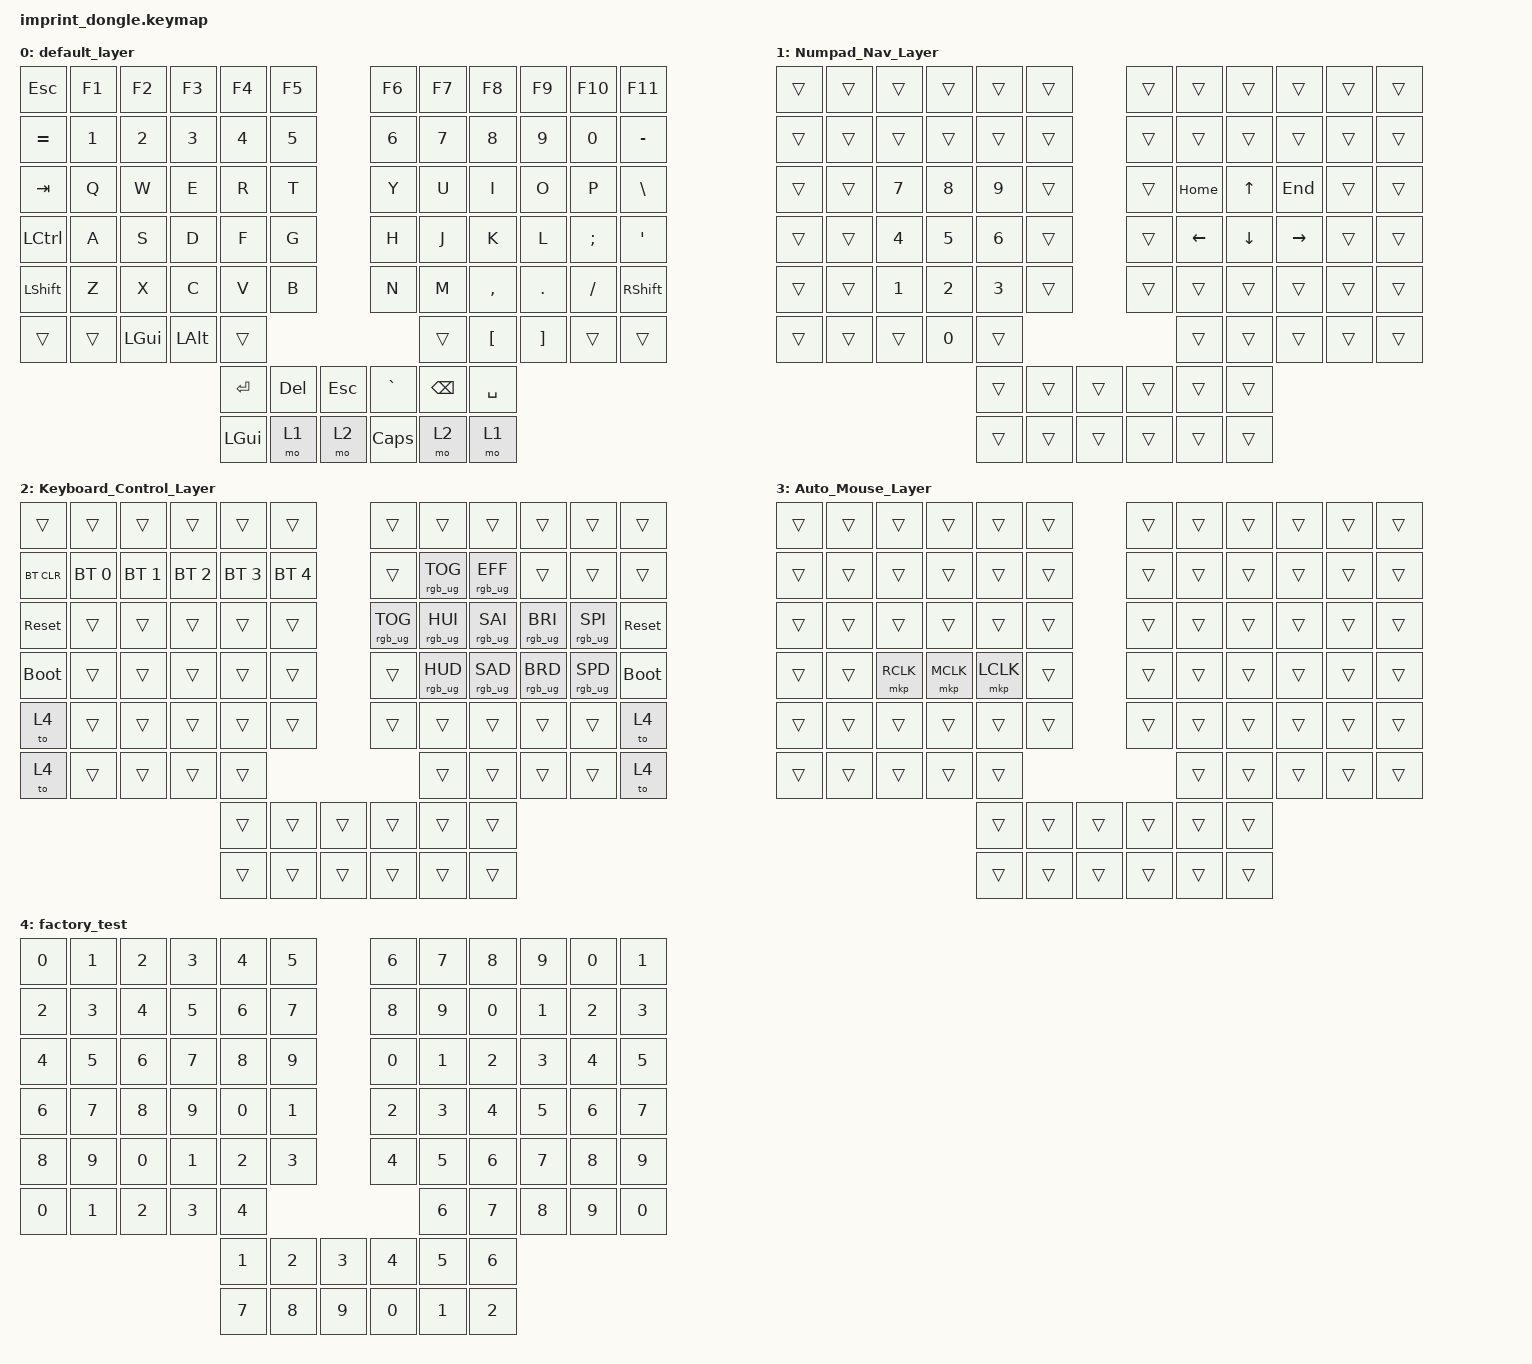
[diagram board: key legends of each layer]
// Stock default keymap for the dongle. The dongle is the split central, so
// it owns the operative keymap — the halves' keymaps are inert in dongle
// mode. Matches the imprint default (function row + full bottom row); user
// configs override this with their own imprint_dongle.keymap (an existing
// imprint.keymap is NOT picked up for this shield).

#include <input/processors.dtsi>
#include <dt-bindings/zmk/input_transform.h>
#include <behaviors.dtsi>
#include <dt-bindings/zmk/bt.h>
#include <dt-bindings/zmk/keys.h>
#include <dt-bindings/zmk/pointing.h>
#include <dt-bindings/zmk/rgb.h>

/ {
    keymap {
        compatible = "zmk,keymap";

        default_layer {
            bindings = <
&kp ESC    &kp F1  &kp F2    &kp F3    &kp F4    &kp F5              &kp F6     &kp F7    &kp F8     &kp F9    &kp F10   &kp F11
&kp EQUAL  &kp N1  &kp N2    &kp N3    &kp N4    &kp N5              &kp N6     &kp N7    &kp N8     &kp N9    &kp N0    &kp MINUS
&kp TAB    &kp Q   &kp W     &kp E     &kp R     &kp T               &kp Y      &kp U     &kp I      &kp O     &kp P     &kp BSLH
&kp LCTRL  &kp A   &kp S     &kp D     &kp F     &kp G               &kp H      &kp J     &kp K      &kp L     &kp SEMI  &kp SQT
&kp LSHFT  &kp Z   &kp X     &kp C     &kp V     &kp B               &kp N      &kp M     &kp COMMA  &kp DOT   &kp FSLH  &kp RSHFT
&trans     &trans  &kp LGUI  &kp LALT  &trans                                   &trans    &kp LBKT   &kp RBKT  &trans    &trans
                                       &kp RET   &kp DEL  &kp ESC    &kp GRAVE  &kp BSPC  &kp SPACE
                                       &kp LGUI  &mo 1    &mo 2      &kp CAPS   &mo 2     &mo 1
            >;
        };

        Numpad_Nav_Layer {
            bindings = <
&trans  &trans  &trans  &trans  &trans  &trans            &trans  &trans    &trans    &trans     &trans  &trans
&trans  &trans  &trans  &trans  &trans  &trans            &trans  &trans    &trans    &trans     &trans  &trans
&trans  &trans  &kp N7  &kp N8  &kp N9  &trans            &trans  &kp HOME  &kp UP    &kp END    &trans  &trans
&trans  &trans  &kp N4  &kp N5  &kp N6  &trans            &trans  &kp LEFT  &kp DOWN  &kp RIGHT  &trans  &trans
&trans  &trans  &kp N1  &kp N2  &kp N3  &trans            &trans  &trans    &trans    &trans     &trans  &trans
&trans  &trans  &trans  &kp N0  &trans                            &trans    &trans    &trans     &trans  &trans
                                &trans  &trans  &trans    &trans  &trans    &trans
                                &trans  &trans  &trans    &trans  &trans    &trans
            >;
        };

        Keyboard_Control_Layer {
            bindings = <
&trans       &trans        &trans        &trans        &trans        &trans                  &trans  &trans           &trans           &trans           &trans           &trans
&bt BT_CLR   &bt BT_SEL 0  &bt BT_SEL 1  &bt BT_SEL 2  &bt BT_SEL 3  &bt BT_SEL 4            &trans  &rgb_ug RGB_TOG  &rgb_ug RGB_EFF  &trans           &trans           &trans
&sys_reset   &trans        &trans        &trans        &trans        &trans                  &rgb_ug RGB_TOG  &rgb_ug RGB_HUI  &rgb_ug RGB_SAI  &rgb_ug RGB_BRI  &rgb_ug RGB_SPI  &sys_reset
&bootloader  &trans        &trans        &trans        &trans        &trans                  &trans  &rgb_ug RGB_HUD  &rgb_ug RGB_SAD  &rgb_ug RGB_BRD  &rgb_ug RGB_SPD  &bootloader
&to 4        &trans        &trans        &trans        &trans        &trans                  &trans  &trans           &trans           &trans           &trans           &to 4
&to 4        &trans        &trans        &trans        &trans                                        &trans           &trans           &trans           &trans           &to 4
                                                       &trans        &trans        &trans    &trans  &trans           &trans
                                                       &trans        &trans        &trans    &trans  &trans           &trans
            >;
        };

        Auto_Mouse_Layer {
            bindings = <
&trans  &trans  &trans     &trans     &trans     &trans            &trans  &trans  &trans  &trans  &trans  &trans
&trans  &trans  &trans     &trans     &trans     &trans            &trans  &trans  &trans  &trans  &trans  &trans
&trans  &trans  &trans     &trans     &trans     &trans            &trans  &trans  &trans  &trans  &trans  &trans
&trans  &trans  &mkp RCLK  &mkp MCLK  &mkp LCLK  &trans            &trans  &trans  &trans  &trans  &trans  &trans
&trans  &trans  &trans     &trans     &trans     &trans            &trans  &trans  &trans  &trans  &trans  &trans
&trans  &trans  &trans     &trans     &trans                               &trans  &trans  &trans  &trans  &trans
                                      &trans     &trans  &trans    &trans  &trans  &trans
                                      &trans     &trans  &trans    &trans  &trans  &trans
            >;
        };

        factory_test {
            bindings = <
&kp N0  &kp N1  &kp N2  &kp N3  &kp N4  &kp N5            &kp N6  &kp N7  &kp N8  &kp N9  &kp N0  &kp N1
&kp N2  &kp N3  &kp N4  &kp N5  &kp N6  &kp N7            &kp N8  &kp N9  &kp N0  &kp N1  &kp N2  &kp N3
&kp N4  &kp N5  &kp N6  &kp N7  &kp N8  &kp N9            &kp N0  &kp N1  &kp N2  &kp N3  &kp N4  &kp N5
&kp N6  &kp N7  &kp N8  &kp N9  &kp N0  &kp N1            &kp N2  &kp N3  &kp N4  &kp N5  &kp N6  &kp N7
&kp N8  &kp N9  &kp N0  &kp N1  &kp N2  &kp N3            &kp N4  &kp N5  &kp N6  &kp N7  &kp N8  &kp N9
&kp N0  &kp N1  &kp N2  &kp N3  &kp N4                            &kp N6  &kp N7  &kp N8  &kp N9  &kp N0
                                &kp N1  &kp N2  &kp N3    &kp N4  &kp N5  &kp N6
                                &kp N7  &kp N8  &kp N9    &kp N0  &kp N1  &kp N2
            >;
        };
    };
};

// Left-hand trackball (forwarded from the left peripheral): scroll behavior,
// same processors as the standard config.
&trackball_central_listener {
    input-processors =
        <&zip_xy_scaler 1 3>,
        <&zip_xy_to_scroll_mapper>,
        <&zip_scroll_transform INPUT_TRANSFORM_Y_INVERT>;
};
